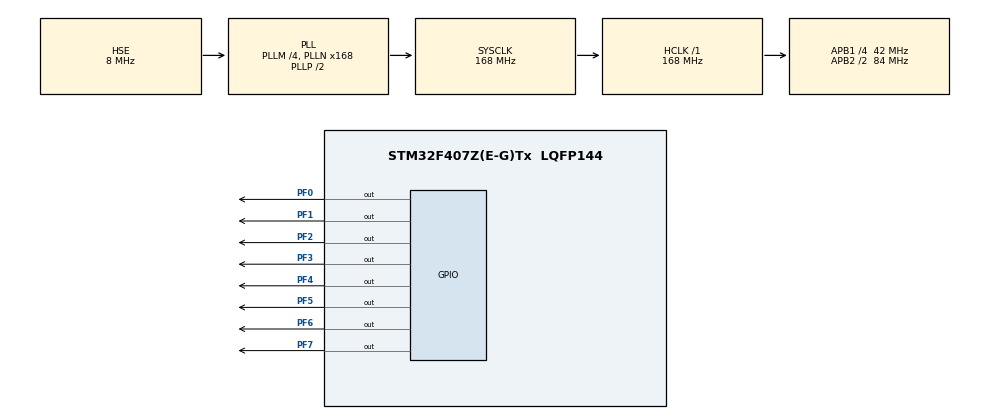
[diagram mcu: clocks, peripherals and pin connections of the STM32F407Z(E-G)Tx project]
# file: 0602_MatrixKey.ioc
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Mcu.Family=STM32F4
Mcu.Name=STM32F407Z(E-G)Tx
Mcu.Package=LQFP144
NVIC.PriorityGroup=NVIC_PRIORITYGROUP_4
PA13.Mode=Serial_Wire
PA13.Signal=SYS_JTMS-SWDIO
PA14.Mode=Serial_Wire
PA14.Signal=SYS_JTCK-SWCLK
PF0.GPIO_PuPd=GPIO_PULLUP
PF0.PinState=GPIO_PIN_SET
PF0.Signal=GPIO_Output
PF1.GPIO_PuPd=GPIO_PULLUP
PF1.PinState=GPIO_PIN_SET
PF1.Signal=GPIO_Output
PF2.GPIO_PuPd=GPIO_PULLUP
PF2.PinState=GPIO_PIN_SET
PF2.Signal=GPIO_Output
PF3.GPIO_PuPd=GPIO_PULLUP
PF3.PinState=GPIO_PIN_SET
PF3.Signal=GPIO_Output
PF4.GPIO_PuPd=GPIO_PULLUP
PF4.PinState=GPIO_PIN_SET
PF4.Signal=GPIO_Output
PF5.GPIO_PuPd=GPIO_PULLUP
PF5.PinState=GPIO_PIN_SET
PF5.Signal=GPIO_Output
PF6.GPIO_PuPd=GPIO_PULLUP
PF6.PinState=GPIO_PIN_SET
PF6.Signal=GPIO_Output
PF7.GPIO_PuPd=GPIO_PULLUP
PF7.PinState=GPIO_PIN_SET
PF7.Signal=GPIO_Output
PH0-OSC_IN.Mode=HSE-External-Oscillator
PH0-OSC_IN.Signal=RCC_OSC_IN
PH1-OSC_OUT.Mode=HSE-External-Oscillator
PH1-OSC_OUT.Signal=RCC_OSC_OUT
ProjectManager.HeapSize=0x200
ProjectManager.StackSize=0x400
ProjectManager.TargetToolchain=MDK-ARM V5.32
RCC.48MHZClocksFreq_Value=84000000
RCC.AHBFreq_Value=168000000
RCC.APB1CLKDivider=RCC_HCLK_DIV4
RCC.APB1Freq_Value=42000000
RCC.APB1TimFreq_Value=84000000
RCC.APB2CLKDivider=RCC_HCLK_DIV2
RCC.APB2Freq_Value=84000000
RCC.APB2TimFreq_Value=168000000
RCC.CortexFreq_Value=168000000
RCC.HCLKFreq_Value=168000000
RCC.HSE_VALUE=8000000
RCC.HSI_VALUE=16000000
RCC.LSE_VALUE=32768
RCC.PLLM=4
RCC.PLLN=168
RCC.PLLSourceVirtual=RCC_PLLSOURCE_HSE
RCC.SYSCLKFreq_VALUE=168000000
RCC.SYSCLKSource=RCC_SYSCLKSOURCE_PLLCLK
RCC.VCOOutputFreq_Value=336000000
board=custom

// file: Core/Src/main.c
/* USER CODE BEGIN Header */
/**
  ******************************************************************************
  * @file           : main.c
  * @brief          : Main program body
  ******************************************************************************
  * @attention
  *
  * Copyright (c) 2026 STMicroelectronics.
  * All rights reserved.
  *
  * This software is licensed under terms that can be found in the LICENSE file
  * in the root directory of this software component.
  * If no LICENSE file comes with this software, it is provided AS-IS.
  *
  ******************************************************************************
  */
/* USER CODE END Header */
#include "main.h"
#include "gpio.h"

/* USER CODE BEGIN PV */
typedef unsigned int  uint;
/* USER CODE END PV */

void SystemClock_Config(void);

int main(void)
{

  /* USER CODE BEGIN 1 */
	uint16_t i,KeyVal=0;
	uint8_t PreLine[3]={2,0,1};
  /* USER CODE END 1 */

  /* MCU Configuration--------------------------------------------------------*/

  /* Reset of all peripherals, Initializes the Flash interface and the Systick. */
  HAL_Init();

  /* Configure the system clock */
  SystemClock_Config();

  /* Initialize all configured peripherals */
  MX_GPIO_Init();

  /* Infinite loop */
  /* USER CODE BEGIN WHILE */
  while (1)
  {
//		uint32_t i=6000;
//		HAL_GPIO_WritePin(GPIOE,GPIO_PIN_0,0);
//		HAL_Delay(i);
//		HAL_GPIO_WritePin(GPIOE,GPIO_PIN_0,1);
//		HAL_Delay(i);
//		i=i-6;
		for(i=0;i<3;i++){
			if((GPIOE->IDR&0x0F)!=0x0F){
				HAL_Delay(10);
				if((GPIOE->IDR&0x0F)!=0x0F){
					switch((GPIOE->IDR&0x0F)){
						case 0x0E:KeyVal=4*PreLine[i]+1;break;
						case 0x0D:KeyVal=4*PreLine[i]+2;break;
						case 0x0B:KeyVal=4*PreLine[i]+3;break;
						case 0x07:KeyVal=4*PreLine[i]+4;break;
						default:break;
					}
				}
			}
			GPIOE->ODR=~(1<<(i+4));
		}
		GPIOF->ODR=~((KeyVal/10<<4)+KeyVal%10);
	}
    /* USER CODE END WHILE */

}

void SystemClock_Config(void)
{
  RCC_OscInitTypeDef RCC_OscInitStruct = {0};
  RCC_ClkInitTypeDef RCC_ClkInitStruct = {0};

  /** Configure the main internal regulator output voltage
  */
  __HAL_RCC_PWR_CLK_ENABLE();
  __HAL_PWR_VOLTAGESCALING_CONFIG(PWR_REGULATOR_VOLTAGE_SCALE1);

  /** Initializes the RCC Oscillators according to the specified parameters
  * in the RCC_OscInitTypeDef structure.
  */
  RCC_OscInitStruct.OscillatorType = RCC_OSCILLATORTYPE_HSE;
  RCC_OscInitStruct.HSEState = RCC_HSE_ON;
  RCC_OscInitStruct.PLL.PLLState = RCC_PLL_ON;
  RCC_OscInitStruct.PLL.PLLSource = RCC_PLLSOURCE_HSE;
  RCC_OscInitStruct.PLL.PLLM = 4;
  RCC_OscInitStruct.PLL.PLLN = 168;
  RCC_OscInitStruct.PLL.PLLP = RCC_PLLP_DIV2;
  RCC_OscInitStruct.PLL.PLLQ = 4;
  if (HAL_RCC_OscConfig(&RCC_OscInitStruct) != HAL_OK)
  {
    Error_Handler();
  }

  /** Initializes the CPU, AHB and APB buses clocks
  */
  RCC_ClkInitStruct.ClockType = RCC_CLOCKTYPE_HCLK|RCC_CLOCKTYPE_SYSCLK
                              |RCC_CLOCKTYPE_PCLK1|RCC_CLOCKTYPE_PCLK2;
  RCC_ClkInitStruct.SYSCLKSource = RCC_SYSCLKSOURCE_PLLCLK;
  RCC_ClkInitStruct.AHBCLKDivider = RCC_SYSCLK_DIV1;
  RCC_ClkInitStruct.APB1CLKDivider = RCC_HCLK_DIV4;
  RCC_ClkInitStruct.APB2CLKDivider = RCC_HCLK_DIV2;

  if (HAL_RCC_ClockConfig(&RCC_ClkInitStruct, FLASH_LATENCY_5) != HAL_OK)
  {
    Error_Handler();
  }
}

void Error_Handler(void)
{
  __disable_irq();
  while (1)
  {
  }
}
